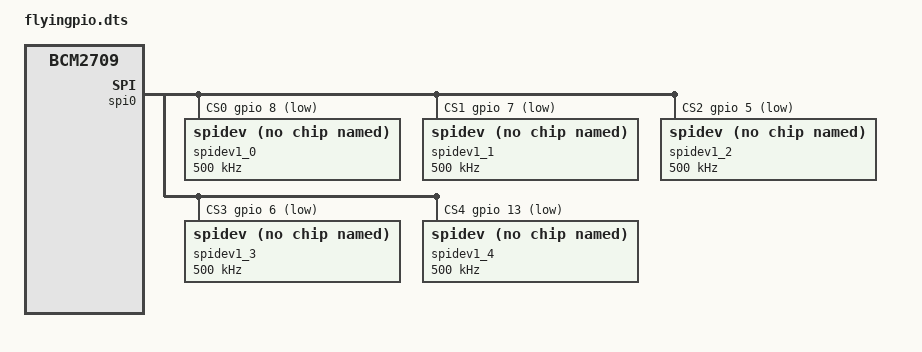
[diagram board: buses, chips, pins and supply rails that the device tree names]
/dts-v1/;
/plugin/;

/ {
	compatible = "brcm,bcm2835", "brcm,bcm2708", "brcm,bcm2709";

	fragment@0 {
		target = <&spi0_cs_pins>;
		__overlay__ {
/* GPIO connector 24 - BCM8 - CE0 - Subsidiary micro
 * GPIO connector 26 - BCM7 - CE1 - Gyro
 * GPIO connector 29 - BCM5 - CE2 - Accel
 * GPIO connector 31 - BCM6 - CE3 - Mag
 * GPIO connector 33 - BCM13- CE4 - Baro
 */
			brcm,pins = <8 7 5 6 13>;
			brcm,function = <1>; /* output */
		};
	};

	fragment@1 {
		target = <&spi0>;
		frag1: __overlay__ {
			/* needed to avoid dtc warning */
			#address-cells = <1>;
			#size-cells = <0>;
			pinctrl-names = "default";
			pinctrl-0 = <&spi0_pins &spi0_cs_pins>;
			cs-gpios = <&gpio 8 1>, <&gpio 7 1>, <&gpio 5 1>, <&gpio 6 1>, <&gpio 13 1>;
			status = "okay";

			spidev1_0: spidev@0 {
				compatible = "spidev";
				reg = <0>;      /* CE0 */
				#address-cells = <1>;
				#size-cells = <0>;
				spi-max-frequency = <500000>;
				status = "okay";
			};

			spidev1_1: spidev@1 {
				compatible = "spidev";
				reg = <1>;      /* CE1 */
				#address-cells = <1>;
				#size-cells = <0>;
				spi-max-frequency = <500000>;
				status = "okay";
			};

			spidev1_2: spidev@2 {
				compatible = "spidev";
				reg = <2>;      /* CE2 */
				#address-cells = <1>;
				#size-cells = <0>;
				spi-max-frequency = <500000>;
				status = "okay";
			};

			spidev1_3: spidev@3 {
				compatible = "spidev";
				reg = <3>;      /* CE3 */
				#address-cells = <1>;
				#size-cells = <0>;
				spi-max-frequency = <500000>;
				status = "okay";
			};

			spidev1_4: spidev@4 {
				compatible = "spidev";
				reg = <4>;      /* CE4 */
				#address-cells = <1>;
				#size-cells = <0>;
				spi-max-frequency = <500000>;
				status = "okay";
			};
		};
	};
};
